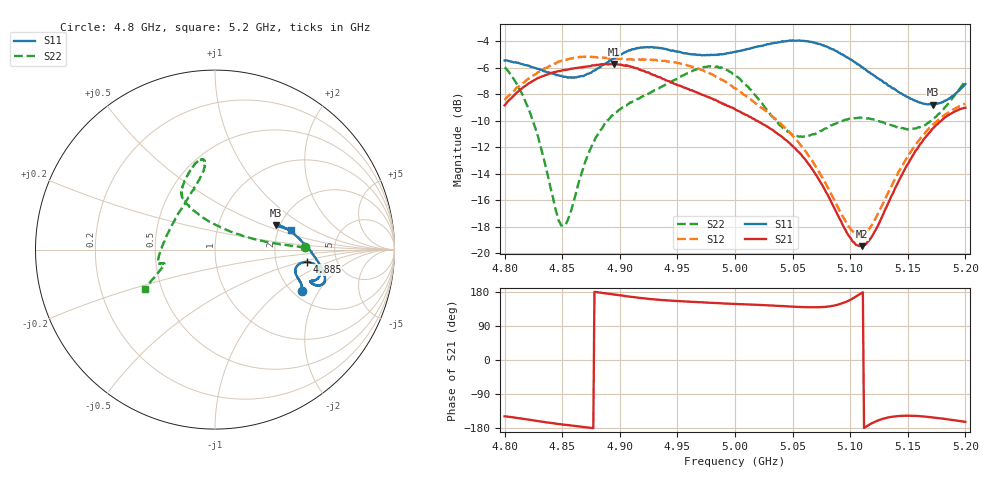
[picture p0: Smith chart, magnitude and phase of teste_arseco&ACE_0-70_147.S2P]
! Network Analyzer HP8722D
! Hewlett-Packard
! Data name: Linha & Wilkinson
! Saver's name: Rodrigo Anjos
! Comments: Teste da utilização de aquisição
! continua pelo VNA HP8722D
! Time and date: 8/5/2025 13:59
!  Frequency  S11  S21  S12  S22
# HZ  S  MA R 50
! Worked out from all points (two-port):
!   401 points, 4.8 GHz to 5.2 GHz, reference 50 ohm
!   highest |S21| = -5.69 dB at 4.895 GHz (marker M1); lowest = -19.5 dB at 5.11 GHz (marker M2)
!   |S21| within 3 dB of the highest: 4.801 GHz to 4.989 GHz (187.5 MHz wide, 3.83 % of centre)
!   lowest |S11| = -8.8 dB at 5.172 GHz (marker M3), VSWR 2.15, Z = 95 + j29.8 ohm
!   |S11| at or under -10 dB: nowhere
!   |S22| runs from -17.9 to -5.9 dB; largest |S21 - S12| = 1.1
!   S11 on the Smith chart (normalised r, x): 4.8 GHz: 2.23, -1.43; 4.885 GHz: 3.00, -0.56; 5.2 GHz: 2.33, +0.64
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4.8e9  0.5345 -25.4  0.362 -148.7  0.3787 10.8  0.5032 1.5
4.812e9  0.524 -22.3  0.409 -153.4  0.425 9.0  0.4254 2.7
4.823e9  0.5059 -20.7  0.4437 -158.4  0.463 7.5  0.3303 6.1
4.849e9  0.4679 -16.2  0.4894 -169.8  0.5329 3.4  0.1273 57.8
4.855e9  0.4605 -14.6  0.494 -172.1  0.5412 2.4  0.1337 84.2
4.867e9  0.4672 -11.2  0.5027 -176.2  0.551 0.8  0.2016 112.2
4.885e9  0.5145 -7.7  0.5179 177.2  0.5482 -0.7  0.298 121.4
4.895e9  0.5457 -8.0  0.5192 173.0  0.5405 -0.5  0.3349 121.8
4.916e9  0.597 -11.6  0.4983 164.3  0.5371 -0.2  0.3833 118.7
4.934e9  0.5953 -15.4  0.4624 158.8  0.5368 -1.2  0.4191 113.4
4.975e9  0.5592 -18.5  0.3919 151.7  0.4861 -4.9  0.5062 99.8
5e9  0.5769 -19.2  0.3502 147.8  0.4201 -5.2  0.4716 97.2
5.018e9  0.6013 -19.4  0.3177 145.8  0.3675 -2.2  0.3935 103.7
5.044e9  0.6315 -17.6  0.2679 141.7  0.2953 3.1  0.2919 131.3
5.067e9  0.6274 -13.4  0.2081 139.0  0.2235 9.6  0.2811 164.4
5.099e9  0.5438 -2.6  0.1161 157.0  0.1257 38.4  0.322 -169.9
5.11e9  0.5041 2.6  0.1062 176.9  0.1171 60.4  0.3249 -167.1
5.12e9  0.4711 7.7  0.1179 -165.2  0.1302 79.2  0.3204 -165.7
5.134e9  0.4284 14.4  0.1577 -150.9  0.1729 94.7  0.3054 -165.6
5.154e9  0.3815 20.7  0.2326 -147.3  0.2469 101.8  0.2952 -164.1
5.172e9  0.3645 21.9  0.2966 -151.5  0.3065 102.8  0.3208 -160.1
5.2e9  0.4358 14.8  0.3546 -163.3  0.3672 103.2  0.4463 -150.5
